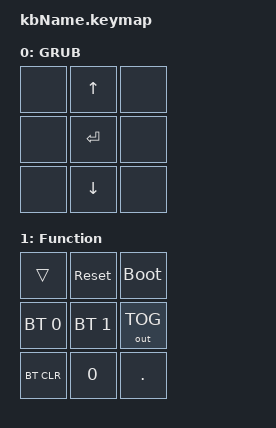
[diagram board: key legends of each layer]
#include <behaviors.dtsi>
#include <dt-bindings/zmk/keys.h>
#include <dt-bindings/zmk/bt.h>
#include <dt-bindings/zmk/outputs.h>

/ {
    keymap {
        compatible = "zmk,keymap";

        base_layer {
            display-name = "GRUB";
            bindings = <
                &none      &kp UP     &none
                &none      &kp ENTER  &none
                &none      &kp DOWN   &none
            >;
        };

        function_layer {
            display-name = "Function";
            bindings = <
                &trans       &sys_reset   &bootloader
                &bt BT_SEL 0 &bt BT_SEL 1 &out OUT_TOG
                &bt BT_CLR   &kp N0       &kp DOT
            >;
        };
    };
};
